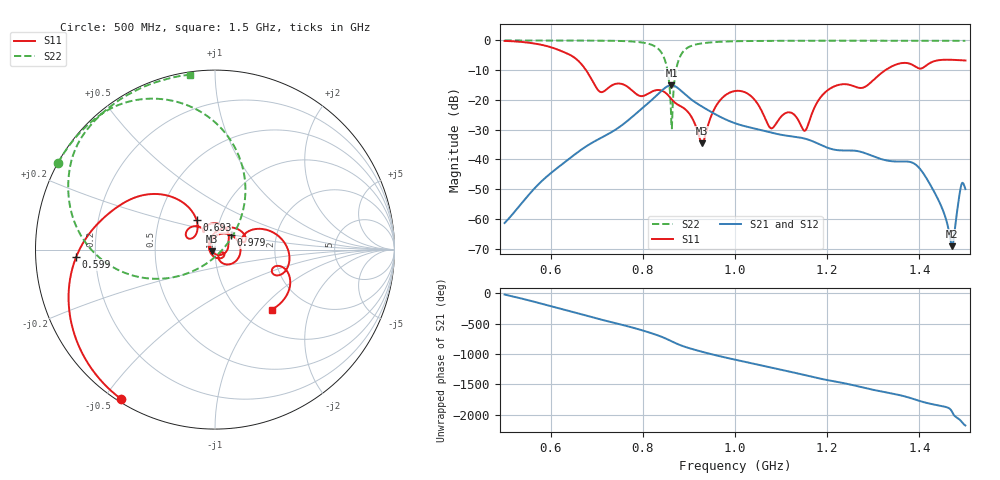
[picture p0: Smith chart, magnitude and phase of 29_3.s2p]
! TOUCHSTONE file generated by CST MICROWAVE STUDIO
! Date and time: Fri Oct  2 16:36:25 2020
! Project name: Scenario_1_Free_Space_out_of_line.cst
! Parameters = {Lambda=346.42; Step_1=17.321; dy1=-137.908; dx1=520; L_HA=400; MT=2.54; Rad_Dielectric=30; Rad_Lower=7.3; Rad_Upper=30; a_HA=580; a_WG=246; b_HA=500; b_WG=121; c_HA=0; c_WG=187; d_feed=85; h_feed=15; h_lower=18; h_upper=40}
! Header version: 2018
! Port assignment regex: !\s*Touchstone port\s*([0-9]+)\s*=\s*(CST MWS port|CST DS port)\s*([0-9]+|Zmin|Zmax)\s*\(\"(.*)\"\)(\s*mode\s*([0-9]+))?.*
! Touchstone port assignment:
! Touchstone port 1 = CST MWS port 1 ("")
! Touchstone port 2 = CST MWS port 2 ("")
# GHz S DB R 50
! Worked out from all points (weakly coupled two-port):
!   1003 points, 500 MHz to 1.5 GHz, reference 50 ohm
!   highest |S21| = -15.06 dB at 862 MHz (marker M1); lowest = -69.2 dB at 1.471 GHz (marker M2)
!   lowest |S11| = -34.6 dB at 929 MHz (marker M3), VSWR 1.04, Z = 48.5 - j1.02 ohm
!   |S11| at or under -10 dB: 676.7 MHz to 1.326 GHz (649.6 MHz wide, 64.9 % of centre)
!   |S22| runs from -29.6 to 0.0 dB; largest |S21 - S12| = 0.00013
!   S11 on the Smith chart (normalised r, x): 500 MHz: 0.01, -0.55; 599 MHz: 0.13, -0.03; 693 MHz: 0.77, +0.26; 979 MHz: 1.17, +0.20; 1.5 GHz: 1.36, -1.15
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0.5  -0.15 -122.4  -61.42 -20.7  -61.42 -20.7  -0.01 151.1
0.599  -2.22 -176.9  -44.81 150.5  -44.81 150.5  -0.02 144.2
0.667  -8.03 130.9  -36.69 14.5  -36.69 14.5  -0.04 138.4
0.693  -14.28 122.1  -34.13 -39.5  -34.13 -39.5  -0.06 135.7
0.782  -17.56 120.6  -25.05 146.8  -25.05 146.8  -0.41 120.1
0.834  -16.67 91.5  -17.91 23.4  -17.91 23.4  -2.89 90.7
0.85  -17.71 61.3  -15.75 -25.6  -15.75 -25.6  -7.69 66.0
0.862  -19.71 41.7  -15.06 -68.5  -15.06 -68.5  -28.62 -8.4
0.882  -22.12 17.7  -16.80 -135.7  -16.80 -135.7  -5.05 -168.8
0.929  -34.59 -145.5  -22.30 116.3  -22.30 116.3  -0.97 156.1
0.979  -18.44 43.4  -26.53 23.1  -26.53 23.1  -0.36 144.1
1  -17.01 7.2  -27.85 -12.1  -27.85 -12.1  -0.27 140.8
1.078  -29.54 -43.4  -30.98 -142.4  -30.98 -142.4  -0.15 131.9
1.118  -24.18 -40.7  -32.16 151.9  -32.16 151.9  -0.12 128.4
1.152  -30.36 -162.3  -33.04 91.8  -33.04 91.8  -0.11 125.6
1.167  -24.61 120.0  -33.82 64.7  -33.82 64.7  -0.10 124.4
1.208  -16.04 50.7  -36.46 0.8  -36.46 0.8  -0.09 121.2
1.334  -9.25 15.3  -40.51 160.3  -40.51 160.3  -0.09 111.6
1.403  -9.46 -18.5  -43.49 22.6  -43.49 22.6  -0.11 106.3
1.471  -6.51 -38.5  -69.20 -150.4  -69.15 -151.2  -0.12 100.6
1.49  -6.66 -44.2  -49.34 61.8  -49.13 60.7  -0.13 99.0
1.5  -6.75 -46.7  -50.02 -15.3  -50.08 -16.4  -0.14 98.1
